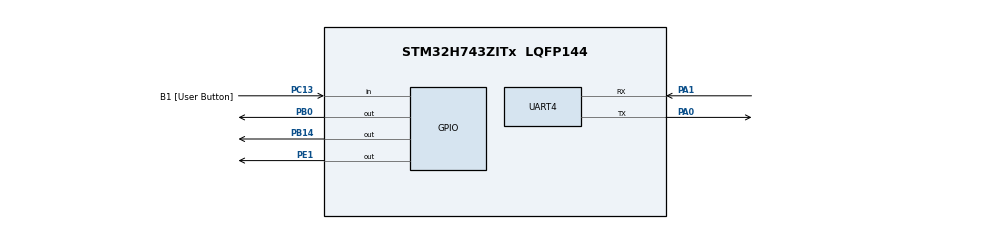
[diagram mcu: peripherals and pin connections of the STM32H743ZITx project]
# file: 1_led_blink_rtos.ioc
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CORTEX_M7.default_mode_Activation=1
Mcu.Family=STM32H7
Mcu.Name=STM32H743ZITx
Mcu.Package=LQFP144
NUCLEO-H743ZI2.LD1=true
NUCLEO-H743ZI2.LD2=true
NUCLEO-H743ZI2.LD3=true
NVIC.PriorityGroup=NVIC_PRIORITYGROUP_4
NVIC.TIM6_DAC_IRQn=true\:15\:0\:false\:false\:true\:false\:true\:true
NVIC.TIM7_IRQn=true\:0\:0\:false\:false\:true\:true\:true\:true
NVIC.TimeBase=TIM6_DAC_IRQn
NVIC.TimeBaseIP=TIM6
NVIC.UART4_IRQn=true\:0\:0\:false\:false\:true\:true\:true\:true
PA0.Mode=Asynchronous
PA0.Signal=UART4_TX
PA1.Mode=Asynchronous
PA1.Signal=UART4_RX
PA13\ (JTMS/SWDIO).GPIO_Label=JTMS
PA13\ (JTMS/SWDIO).Signal=DEBUG_JTMS-SWDIO
PA14\ (JTCK/SWCLK).GPIO_Label=JTCK
PA14\ (JTCK/SWCLK).Signal=DEBUG_JTCK-SWCLK
PB0.Signal=GPIO_Output
PB14.Signal=GPIO_Output
PC13.GPIO_Label=B1 [User Button]
PC13.Signal=GPIO_Input
PC14-OSC32_IN\ (OSC32_IN).Signal=RCC_OSC32_IN
PC15-OSC32_OUT\ (OSC32_OUT).Signal=RCC_OSC32_OUT
PD8.GPIO_Label=STLINK_RX
PD8.Signal=USART3_TX
PD9.GPIO_Label=STLINK_TX
PD9.Signal=USART3_RX
PE1.Signal=GPIO_Output
PH0-OSC_IN\ (PH0).Signal=RCC_OSC_IN
PH1-OSC_OUT\ (PH1).Signal=RCC_OSC_OUT
ProjectManager.HeapSize=0x200
ProjectManager.StackSize=0x400
ProjectManager.TargetToolchain=MDK-ARM V5.32
RCC.ADCFreq_Value=129000000
RCC.APB1Freq_Value=32000000
RCC.APB2Freq_Value=64000000
RCC.APB3Freq_Value=64000000
RCC.APB4Freq_Value=64000000
RCC.CortexFreq_Value=64000000
RCC.D2PPRE1=RCC_APB1_DIV2
RCC.HCLKFreq_Value=64000000
RCC.SYSCLKFreq_VALUE=64000000
RCC.USBFreq_Value=129000000
TIM7.AutoReloadPreload=TIM_AUTORELOAD_PRELOAD_ENABLE
TIM7.Period=1000
TIM7.Prescaler=63999
TIM7.TIM_MasterOutputTrigger=TIM_TRGO_UPDATE
VP_MEMORYMAP_VS_MEMORYMAP.Mode=CurAppReg
VP_NUCLEO-H743ZI2_VS_BSP_COMMON.Mode=COMMON
VP_SYS_VS_tim6.Mode=TIM6
VP_TIM7_VS_ClockSourceINT.Mode=Enable_Timer
board=NUCLEO-H743ZI2

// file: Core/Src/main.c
/* USER CODE BEGIN Header */
/**
  ******************************************************************************
  * @file           : main.c
  * @brief          : Main program body
  ******************************************************************************
  * @attention
  *
  * Copyright (c) 2025 STMicroelectronics.
  * All rights reserved.
  *
  * This software is licensed under terms that can be found in the LICENSE file
  * in the root directory of this software component.
  * If no LICENSE file comes with this software, it is provided AS-IS.
  *
  ******************************************************************************
  */
/* USER CODE END Header */
#include "main.h"

/* USER CODE BEGIN Includes */
#include "stm32h7xx_it.h"
#include "FreeRTOS.h"
#include <task.h>
#include <queue.h>
#include <timers.h>
#include <semphr.h>
#include "stdio.h"
/*
#include <queue.h>
#include <timers.h>
#include <semphr.h>
*/
/* USER CODE END Includes */

/* USER CODE BEGIN PV */
// static const TickType_t xDelay = 500 / portTICK_PERIOD_MS;
static char stringForMessage1[] = "Task 1 is running";
static char stringForMessage2[] = "Task 2 is running";
static uint32_t counter = 0;
/* USER CODE END PV */

void SystemClock_Config(void);
static void MPU_Config(void);
static void MX_GPIO_Init(void);
static void MX_UART4_Init(void);
static void MX_TIM7_Init(void);
/* USER CODE BEGIN PFP */
static void blinkLeds(void *argument);
static void blinkLED(void *argument);
/* USER CODE END PFP */

int main(void)
{

  /* USER CODE BEGIN 1 */
//   TaskHandle_t xHandleLED1,

  /* USER CODE END 1 */

  /* MPU Configuration--------------------------------------------------------*/
  MPU_Config();

  /* MCU Configuration--------------------------------------------------------*/

  /* Reset of all peripherals, Initializes the Flash interface and the Systick. */
  HAL_Init();

  /* Configure the system clock */
  SystemClock_Config();

  /* USER CODE BEGIN SysInit */
    SCB_EnableICache();
    SCB_EnableDCache();

  /* USER CODE END SysInit */

  /* Initialize all configured peripherals */
  MX_GPIO_Init();
  MX_UART4_Init();
  MX_TIM7_Init();
  /* USER CODE BEGIN 2 */
  LL_TIM_EnableCounter(TIM7);         // Start counting
  /* USER CODE END 2 */

  /* Initialize leds */
  BSP_LED_Init(LED_GREEN);
  BSP_LED_Init(LED_YELLOW);
  BSP_LED_Init(LED_RED);

  /* Infinite loop */
  /* USER CODE BEGIN WHILE */
  TaskHandle_t xTaskHandle1;
  TaskHandle_t xTaskHandle2;
  xTaskCreate(blinkLeds,"2LED", 256, NULL, 1, &xTaskHandle1);
  xTaskCreate(blinkLED,"led_1", 256, NULL, 1, &xTaskHandle2);
  markTaskScheduleRunning();
  vTaskStartScheduler();

  // char stringForError[] = "Error for freeRTOS 0";
  // char stringForSucceess0[] = "Success for freeRTOS 0";
  // write_data_to_uart((uint8_t *)&stringForSucceess0, sizeof(stringForSucceess0));
  // TaskHandle_t xTaskHandle1;
  // TaskHandle_t xTaskHandle2;
  // TaskStatus_t xTaskDetails;

  // BaseType_t ret = xTaskCreate(blinkLeds,"2LED", 256, NULL, 6, &xTaskHandle1);
  // if(ret != pdPASS){
  //   write_data_to_uart((uint8_t *)&stringForError, sizeof(stringForError));
  //   write_data_to_uart((uint8_t *)&ret, sizeof(ret));
  //   LL_GPIO_TogglePin(GPIOE, LL_GPIO_PIN_1);
  // }

  // if(xTaskHandle1 != NULL){
  //   write_data_to_uart((uint8_t *)&stringForSucceess0, sizeof(stringForSucceess0));
  //   vTaskGetInfo(xTaskHandle1, &xTaskDetails, pdTRUE, xTaskState);
  // }
  // else{
  //   write_data_to_uart((uint8_t *)&stringForError, sizeof(stringForError));
  // }

  // ret = xTaskCreate(blinkLED,"led_1", 256, NULL, 5, &xTaskHandle2);
  // if(ret != pdPASS){
  //   write_data_to_uart((uint8_t *)&stringForError, sizeof(stringForError));
  //   write_data_to_uart((uint8_t *)&ret, sizeof(ret));
  //   LL_GPIO_TogglePin(GPIOB, LL_GPIO_PIN_14);
  // }

  // if(xTaskHandle2 != NULL){
  //   write_data_to_uart((uint8_t *)&stringForSucceess0, sizeof(stringForSucceess0));
  //   TaskStatus_t xTaskDetails;
  //   vTaskGetInfo(xTaskHandle2, &xTaskDetails, pdTRUE, xTaskState);
  // }
  // else{
  //   write_data_to_uart((uint8_t *)&stringForError, sizeof(stringForError));
  // }

  // char stringForSucceess[] = "Successessfully done";
  // size_t freeHeap = xPortGetFreeHeapSize();
  // write_data_to_uart((uint8_t *)&stringForSucceess, sizeof(stringForSucceess));
  // markTaskScheduleRunning();
  // vTaskStartScheduler();
  // write_data_to_uart((uint8_t *)&stringForSucceess, sizeof(stringForSucceess));

  while (1)
  {
    LL_GPIO_TogglePin(GPIOE, LL_GPIO_PIN_1);
    LL_GPIO_TogglePin(GPIOB, LL_GPIO_PIN_14| LL_GPIO_PIN_0);
    HAL_Delay(1000);
    /* USER CODE END WHILE */

  }
}

void SystemClock_Config(void)
{
  LL_FLASH_SetLatency(LL_FLASH_LATENCY_1);
  while(LL_FLASH_GetLatency()!= LL_FLASH_LATENCY_1)
  {
  }
  LL_PWR_ConfigSupply(LL_PWR_LDO_SUPPLY);
  LL_PWR_SetRegulVoltageScaling(LL_PWR_REGU_VOLTAGE_SCALE3);
  while (LL_PWR_IsActiveFlag_VOS() == 0)
  {
  }
  LL_RCC_HSI_Enable();

   /* Wait till HSI is ready */
  while(LL_RCC_HSI_IsReady() != 1)
  {

  }
  LL_RCC_HSI_SetCalibTrimming(64);
  LL_RCC_HSI_SetDivider(LL_RCC_HSI_DIV1);
  LL_RCC_SetSysClkSource(LL_RCC_SYS_CLKSOURCE_HSI);

   /* Wait till System clock is ready */
  while(LL_RCC_GetSysClkSource() != LL_RCC_SYS_CLKSOURCE_STATUS_HSI)
  {

  }
  LL_RCC_SetSysPrescaler(LL_RCC_SYSCLK_DIV_1);
  LL_RCC_SetAHBPrescaler(LL_RCC_AHB_DIV_1);
  LL_RCC_SetAPB1Prescaler(LL_RCC_APB1_DIV_2);
  LL_RCC_SetAPB2Prescaler(LL_RCC_APB2_DIV_1);
  LL_RCC_SetAPB3Prescaler(LL_RCC_APB3_DIV_1);
  LL_RCC_SetAPB4Prescaler(LL_RCC_APB4_DIV_1);
  LL_SetSystemCoreClock(64000000);

   /* Update the time base */
  if (HAL_InitTick (TICK_INT_PRIORITY) != HAL_OK)
  {
    Error_Handler();
  }
}

static void MX_TIM7_Init(void)
{

  LL_TIM_InitTypeDef TIM_InitStruct = {0};

  /* Peripheral clock enable */
  LL_APB1_GRP1_EnableClock(LL_APB1_GRP1_PERIPH_TIM7);

  /* TIM7 interrupt Init */
  // NVIC_SetPriority(TIM7_IRQn, NVIC_EncodePriority(NVIC_GetPriorityGrouping(),0, 0));
  NVIC_SetPriority(TIM7_IRQn, NVIC_EncodePriority(NVIC_GetPriorityGrouping(), 15, 0));
  NVIC_EnableIRQ(TIM7_IRQn);

  /* USER CODE BEGIN TIM7_Init 1 */

  // NVIC_DisableIRQ(TIM7_IRQn);
  LL_TIM_EnableIT_UPDATE(TIM7);

  /* USER CODE END TIM7_Init 1 */
  TIM_InitStruct.Prescaler = 63;
  TIM_InitStruct.CounterMode = LL_TIM_COUNTERMODE_UP;
  TIM_InitStruct.Autoreload = 999;
  LL_TIM_Init(TIM7, &TIM_InitStruct);
  LL_TIM_EnableARRPreload(TIM7);
  LL_TIM_SetTriggerOutput(TIM7, LL_TIM_TRGO_UPDATE);
  LL_TIM_DisableMasterSlaveMode(TIM7);
  /* USER CODE BEGIN TIM7_Init 2 */
  // LL_TIM_DisableCounter(TIM7);
  LL_TIM_EnableIT_UPDATE(TIM7);
  /* USER CODE END TIM7_Init 2 */

}

static void MX_UART4_Init(void)
{

  LL_USART_InitTypeDef UART_InitStruct = {0};

  LL_GPIO_InitTypeDef GPIO_InitStruct = {0};

  LL_RCC_SetUSARTClockSource(LL_RCC_USART234578_CLKSOURCE_PCLK1);

  /* Peripheral clock enable */
  LL_APB1_GRP1_EnableClock(LL_APB1_GRP1_PERIPH_UART4);

  LL_AHB4_GRP1_EnableClock(LL_AHB4_GRP1_PERIPH_GPIOA);
  /**UART4 GPIO Configuration
  PA0   ------> UART4_TX
  PA1   ------> UART4_RX
  */
  GPIO_InitStruct.Pin = LL_GPIO_PIN_0|LL_GPIO_PIN_1;
  GPIO_InitStruct.Mode = LL_GPIO_MODE_ALTERNATE;
  GPIO_InitStruct.Speed = LL_GPIO_SPEED_FREQ_LOW;
  GPIO_InitStruct.OutputType = LL_GPIO_OUTPUT_PUSHPULL;
  GPIO_InitStruct.Pull = LL_GPIO_PULL_NO;
  GPIO_InitStruct.Alternate = LL_GPIO_AF_8;
  LL_GPIO_Init(GPIOA, &GPIO_InitStruct);

  /* UART4 interrupt Init */
  NVIC_SetPriority(UART4_IRQn, 5);
  NVIC_EnableIRQ(UART4_IRQn);

  UART_InitStruct.PrescalerValue = LL_USART_PRESCALER_DIV1;
  UART_InitStruct.BaudRate = 115200;
  UART_InitStruct.DataWidth = LL_USART_DATAWIDTH_8B;
  UART_InitStruct.StopBits = LL_USART_STOPBITS_1;
  UART_InitStruct.Parity = LL_USART_PARITY_NONE;
  UART_InitStruct.TransferDirection = LL_USART_DIRECTION_TX_RX;
  UART_InitStruct.HardwareFlowControl = LL_USART_HWCONTROL_NONE;
  UART_InitStruct.OverSampling = LL_USART_OVERSAMPLING_16;
  LL_USART_Init(UART4, &UART_InitStruct);
  LL_USART_DisableFIFO(UART4);
  LL_USART_SetTXFIFOThreshold(UART4, LL_USART_FIFOTHRESHOLD_1_8);
  LL_USART_SetRXFIFOThreshold(UART4, LL_USART_FIFOTHRESHOLD_1_8);
  LL_USART_ConfigAsyncMode(UART4);

  LL_USART_Enable(UART4);

  /* Polling UART4 initialisation */
  while((!(LL_USART_IsActiveFlag_TEACK(UART4))) || (!(LL_USART_IsActiveFlag_REACK(UART4))))
  {
  }

}

static void MX_GPIO_Init(void)
{
  LL_GPIO_InitTypeDef GPIO_InitStruct = {0};

  /* GPIO Ports Clock Enable */
  LL_AHB4_GRP1_EnableClock(LL_AHB4_GRP1_PERIPH_GPIOE);
  LL_AHB4_GRP1_EnableClock(LL_AHB4_GRP1_PERIPH_GPIOC);
  LL_AHB4_GRP1_EnableClock(LL_AHB4_GRP1_PERIPH_GPIOF);
  LL_AHB4_GRP1_EnableClock(LL_AHB4_GRP1_PERIPH_GPIOH);
  LL_AHB4_GRP1_EnableClock(LL_AHB4_GRP1_PERIPH_GPIOA);
  LL_AHB4_GRP1_EnableClock(LL_AHB4_GRP1_PERIPH_GPIOB);
  LL_AHB4_GRP1_EnableClock(LL_AHB4_GRP1_PERIPH_GPIOG);
  LL_AHB4_GRP1_EnableClock(LL_AHB4_GRP1_PERIPH_GPIOD);

  /**/
  GPIO_InitStruct.Pin = LL_GPIO_PIN_2|LL_GPIO_PIN_3|LL_GPIO_PIN_4|LL_GPIO_PIN_5
                          |LL_GPIO_PIN_6|LL_GPIO_PIN_7|LL_GPIO_PIN_8|LL_GPIO_PIN_9
                          |LL_GPIO_PIN_10|LL_GPIO_PIN_11|LL_GPIO_PIN_12|LL_GPIO_PIN_13
                          |LL_GPIO_PIN_14|LL_GPIO_PIN_15|LL_GPIO_PIN_0;
  GPIO_InitStruct.Mode = LL_GPIO_MODE_ANALOG;
  GPIO_InitStruct.Pull = LL_GPIO_PULL_NO;
  LL_GPIO_Init(GPIOE, &GPIO_InitStruct);

  /**/
  GPIO_InitStruct.Pin = B1_Pin;
  GPIO_InitStruct.Mode = LL_GPIO_MODE_INPUT;
  GPIO_InitStruct.Pull = LL_GPIO_PULL_NO;
  LL_GPIO_Init(B1_GPIO_Port, &GPIO_InitStruct);

  /**/
  GPIO_InitStruct.Pin = LL_GPIO_PIN_0|LL_GPIO_PIN_1|LL_GPIO_PIN_2|LL_GPIO_PIN_3
                          |LL_GPIO_PIN_4|LL_GPIO_PIN_5|LL_GPIO_PIN_6|LL_GPIO_PIN_7
                          |LL_GPIO_PIN_8|LL_GPIO_PIN_9|LL_GPIO_PIN_10|LL_GPIO_PIN_11
                          |LL_GPIO_PIN_12|LL_GPIO_PIN_13|LL_GPIO_PIN_14|LL_GPIO_PIN_15;
  GPIO_InitStruct.Mode = LL_GPIO_MODE_ANALOG;
  GPIO_InitStruct.Pull = LL_GPIO_PULL_NO;
  LL_GPIO_Init(GPIOF, &GPIO_InitStruct);

  /**/
  GPIO_InitStruct.Pin = LL_GPIO_PIN_0|LL_GPIO_PIN_1|LL_GPIO_PIN_2|LL_GPIO_PIN_3
                          |LL_GPIO_PIN_4|LL_GPIO_PIN_5|LL_GPIO_PIN_6|LL_GPIO_PIN_7
                          |LL_GPIO_PIN_8|LL_GPIO_PIN_9|LL_GPIO_PIN_10|LL_GPIO_PIN_11
                          |LL_GPIO_PIN_12;
  GPIO_InitStruct.Mode = LL_GPIO_MODE_ANALOG;
  GPIO_InitStruct.Pull = LL_GPIO_PULL_NO;
  LL_GPIO_Init(GPIOC, &GPIO_InitStruct);

  /**/
  GPIO_InitStruct.Pin = LL_GPIO_PIN_2|LL_GPIO_PIN_3|LL_GPIO_PIN_4|LL_GPIO_PIN_5
                          |LL_GPIO_PIN_6|LL_GPIO_PIN_7|LL_GPIO_PIN_8|LL_GPIO_PIN_9
                          |LL_GPIO_PIN_10|LL_GPIO_PIN_11|LL_GPIO_PIN_12|LL_GPIO_PIN_15;
  GPIO_InitStruct.Mode = LL_GPIO_MODE_ANALOG;
  GPIO_InitStruct.Pull = LL_GPIO_PULL_NO;
  LL_GPIO_Init(GPIOA, &GPIO_InitStruct);

  /**/
  GPIO_InitStruct.Pin = LL_GPIO_PIN_1|LL_GPIO_PIN_2|LL_GPIO_PIN_10|LL_GPIO_PIN_11
                          |LL_GPIO_PIN_12|LL_GPIO_PIN_13|LL_GPIO_PIN_15|LL_GPIO_PIN_3
                          |LL_GPIO_PIN_4|LL_GPIO_PIN_5|LL_GPIO_PIN_6|LL_GPIO_PIN_7
                          |LL_GPIO_PIN_8|LL_GPIO_PIN_9;
  GPIO_InitStruct.Mode = LL_GPIO_MODE_ANALOG;
  GPIO_InitStruct.Pull = LL_GPIO_PULL_NO;
  LL_GPIO_Init(GPIOB, &GPIO_InitStruct);

  /**/
  GPIO_InitStruct.Pin = LL_GPIO_PIN_0|LL_GPIO_PIN_1|LL_GPIO_PIN_2|LL_GPIO_PIN_3
                          |LL_GPIO_PIN_4|LL_GPIO_PIN_5|LL_GPIO_PIN_6|LL_GPIO_PIN_7
                          |LL_GPIO_PIN_8|LL_GPIO_PIN_9|LL_GPIO_PIN_10|LL_GPIO_PIN_11
                          |LL_GPIO_PIN_12|LL_GPIO_PIN_13|LL_GPIO_PIN_14|LL_GPIO_PIN_15;
  GPIO_InitStruct.Mode = LL_GPIO_MODE_ANALOG;
  GPIO_InitStruct.Pull = LL_GPIO_PULL_NO;
  LL_GPIO_Init(GPIOG, &GPIO_InitStruct);

  /**/
  GPIO_InitStruct.Pin = STLINK_RX_Pin|STLINK_TX_Pin;
  GPIO_InitStruct.Mode = LL_GPIO_MODE_ALTERNATE;
  GPIO_InitStruct.Speed = LL_GPIO_SPEED_FREQ_LOW;
  GPIO_InitStruct.OutputType = LL_GPIO_OUTPUT_PUSHPULL;
  GPIO_InitStruct.Pull = LL_GPIO_PULL_NO;
  GPIO_InitStruct.Alternate = LL_GPIO_AF_7;
  LL_GPIO_Init(GPIOD, &GPIO_InitStruct);

  /**/
  GPIO_InitStruct.Pin = LL_GPIO_PIN_10|LL_GPIO_PIN_11|LL_GPIO_PIN_12|LL_GPIO_PIN_13
                          |LL_GPIO_PIN_14|LL_GPIO_PIN_15|LL_GPIO_PIN_0|LL_GPIO_PIN_1
                          |LL_GPIO_PIN_2|LL_GPIO_PIN_3|LL_GPIO_PIN_4|LL_GPIO_PIN_5
                          |LL_GPIO_PIN_6|LL_GPIO_PIN_7;
  GPIO_InitStruct.Mode = LL_GPIO_MODE_ANALOG;
  GPIO_InitStruct.Pull = LL_GPIO_PULL_NO;
  LL_GPIO_Init(GPIOD, &GPIO_InitStruct);

}

/* USER CODE BEGIN 4 */

// void read_data_from_uart(uint8_t* data){

//     // *data = LL_USART_ReceiveData8(UART4);
//     // LL_USART_TransmitData8
// }

void write_data_to_uart(uint8_t* data, uint8_t length){
    if(data == NULL)    return;
    while(length > 0){
        while(!LL_USART_IsActiveFlag_TC(UART4));
        LL_USART_TransmitData8(UART4, (uint8_t)(*data));
        length--;
        data++;
    }
}

static void blinkLeds(void *argument){
    // write_data_to_uart((uint8_t*)(&stringForMessage1), sizeof(stringForMessage1));
  char stringfortask1[] = "task 1 running correctly";
	while(1){
      write_data_to_uart((uint8_t*)(&stringfortask1), sizeof(stringfortask1));
    LL_GPIO_TogglePin(GPIOB, LL_GPIO_PIN_14| LL_GPIO_PIN_0);
        vTaskDelay(pdMS_TO_TICKS(800));
	}
}

static void blinkLED(void *argument){
  char stringfortask1[] = "running correctly the second task";
	while(1){
      write_data_to_uart((uint8_t*)(&stringfortask1), sizeof(stringfortask1));
    LL_GPIO_TogglePin(GPIOE, LL_GPIO_PIN_1);
        vTaskDelay(pdMS_TO_TICKS(500));
	}
}

void vApplicationStackOverflowHook(TaskHandle_t xTask, char *pcTaskName)
{
  char stringForMallocError[] = "Error for Stack overflow ";
  while (1){
      write_data_to_uart((uint8_t*)(&stringForMallocError), sizeof(stringForMallocError));
      vTaskDelay(pdMS_TO_TICKS(1000));
  }
}

void vApplicationMallocFailedHook(void)
{
    char stringForMallocError[] = "Error for malloc";
    while (1){
        write_data_to_uart((uint8_t*)(&stringForMallocError), sizeof(stringForMallocError));
        vTaskDelay(pdMS_TO_TICKS(1000));
    }
}

void vApplicationIdleHook(void)
{
   char stringForIdle[] = "Idle task is running";
   if(counter %1000 == 0){
    counter++;
    write_data_to_uart((uint8_t*)(&stringForIdle), sizeof(stringForIdle));
   }
    // vTaskDelay(pdMS_TO_TICKS(1000));
}

void vApplicationTickHook(void)
{
    char stringForIdle[] = "Tick hook task is running";
    write_data_to_uart((uint8_t*)(&stringForIdle), sizeof(stringForIdle));
    vTaskDelay(pdMS_TO_TICKS(3000));
}

void vApplicationGetIdleTaskMemory( StaticTask_t **ppxIdleTaskTCBBuffer, StackType_t **ppxIdleTaskStackBuffer, uint32_t *pulIdleTaskStackSize )
{
    // The buffer that will hold the task's TCB (Task Control Block)
    static StaticTask_t xIdleTaskTCBBuffer;

    // The buffer that will hold the task's stack
    static StackType_t uxIdleTaskStack[ configMINIMAL_STACK_SIZE ];

    // Pass the buffers to FreeRTOS
    *ppxIdleTaskTCBBuffer = &xIdleTaskTCBBuffer;
    *ppxIdleTaskStackBuffer = uxIdleTaskStack;
    *pulIdleTaskStackSize = configMINIMAL_STACK_SIZE;
}

void vApplicationGetTimerTaskMemory( StaticTask_t **ppxTimerTaskTCBBuffer, StackType_t **ppxTimerTaskStackBuffer, uint32_t *pulTimerTaskStackSize )
{
    // The buffer that will hold the task's TCB (Task Control Block)
    static StaticTask_t xTimerTaskTCBBuffer;

    // The buffer that will hold the task's stack
    static StackType_t uxTimerTaskStack[ configTIMER_TASK_STACK_DEPTH ];

    // Pass the buffers to FreeRTOS
    *ppxTimerTaskTCBBuffer = &xTimerTaskTCBBuffer;
    *ppxTimerTaskStackBuffer = uxTimerTaskStack;
    *pulTimerTaskStackSize = configTIMER_TASK_STACK_DEPTH;
}

/* USER CODE END 4 */

 /* MPU Configuration */

void MPU_Config(void)
{

  /* Disables the MPU */
  LL_MPU_Disable();

  /** Initializes and configures the Region and the memory to be protected
  */
  LL_MPU_ConfigRegion(LL_MPU_REGION_NUMBER0, 0x87, 0x0, LL_MPU_REGION_SIZE_4GB|LL_MPU_TEX_LEVEL0|LL_MPU_REGION_NO_ACCESS|LL_MPU_INSTRUCTION_ACCESS_DISABLE|LL_MPU_ACCESS_SHAREABLE|LL_MPU_ACCESS_NOT_CACHEABLE|LL_MPU_ACCESS_NOT_BUFFERABLE);
  /* Enables the MPU */
  LL_MPU_Enable(LL_MPU_CTRL_PRIVILEGED_DEFAULT);

}

void HAL_TIM_PeriodElapsedCallback(TIM_HandleTypeDef *htim)
{
  if (htim->Instance == TIM6)
  {
    HAL_IncTick();
  }
}

void Error_Handler(void)
{
  __disable_irq();
  while (1)
  {
  }
}
